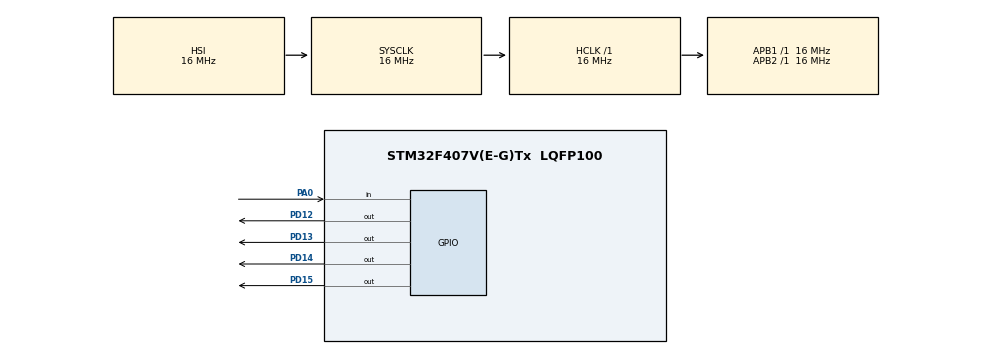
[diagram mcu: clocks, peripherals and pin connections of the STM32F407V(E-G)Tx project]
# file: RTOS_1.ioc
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Mcu.Family=STM32F4
Mcu.Name=STM32F407V(E-G)Tx
Mcu.Package=LQFP100
NVIC.PriorityGroup=NVIC_PRIORITYGROUP_4
NVIC.TIM1_UP_TIM10_IRQn=true\:15\:0\:false\:false\:true\:false\:true\:true
NVIC.TimeBase=TIM1_UP_TIM10_IRQn
NVIC.TimeBaseIP=TIM1
PA0-WKUP.Signal=GPIO_Input
PD12.Signal=GPIO_Output
PD13.Signal=GPIO_Output
PD14.Signal=GPIO_Output
PD15.Signal=GPIO_Output
ProjectManager.HeapSize=0x200
ProjectManager.StackSize=0x400
ProjectManager.TargetToolchain=STM32CubeIDE
RCC.AHBFreq_Value=16000000
RCC.APB1Freq_Value=16000000
RCC.APB2Freq_Value=16000000
RCC.CortexFreq_Value=16000000
RCC.HSE_VALUE=25000000
RCC.HSI_VALUE=16000000
RCC.LSE_VALUE=32768
RCC.SYSCLKFreq_VALUE=16000000
RCC.VCOOutputFreq_Value=192000000
VP_SYS_VS_tim1.Mode=TIM1
board=custom

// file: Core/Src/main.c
/* USER CODE BEGIN Header */
/**
  ******************************************************************************
  * @file           : main.c
  * @brief          : Main program body
  ******************************************************************************
  * @attention
  *
  * Copyright (c) 2024 STMicroelectronics.
  * All rights reserved.
  *
  * This software is licensed under terms that can be found in the LICENSE file
  * in the root directory of this software component.
  * If no LICENSE file comes with this software, it is provided AS-IS.
  *
  ******************************************************************************
  */
/* USER CODE END Header */
#include "main.h"

/* USER CODE BEGIN Includes */
#include "FreeRTOS.h"
#include "task.h"
#include "timers.h"
#include "queue.h"
#include "semphr.h"
#include "event_groups.h"
#include "SEGGER_SYSVIEW.h"
#include "Disc_F407.h"
/* USER CODE END Includes */

void SystemClock_Config(void);
static void MX_GPIO_Init(void);
/* USER CODE BEGIN PFP */
void GreenTask(void *argument);
void BlueTask(void *argument);
void RedTask(void *argument);
void lookBusy( void );
/* USER CODE END PFP */

/* USER CODE BEGIN 0 */
//the address of Task2Handle is passed to xTaskCreate.
//this global variable will be used by Task3 to delete BlueTask.
TaskHandle_t blueTaskHandle;

// some common variables to use for each task
// 128 * 4 = 512 bytes
//(recommended min stack size per task)
#define STACK_SIZE 128

/* USER CODE END 0 */

int main(void)
{

  /* MCU Configuration--------------------------------------------------------*/

  /* Reset of all peripherals, Initializes the Flash interface and the Systick. */
  HAL_Init();

  /* Configure the system clock */
  SystemClock_Config();

  /* Initialize all configured peripherals */
  MX_GPIO_Init();
  /* USER CODE BEGIN 2 */
  SEGGER_SYSVIEW_Conf();

  if (xTaskCreate(GreenTask, "GreenTask", STACK_SIZE, NULL, tskIDLE_PRIORITY + 2, NULL) != pdPASS){ while(1); }

  	//using an assert to ensure proper task creation
  	assert_param(xTaskCreate(BlueTask, "BlueTask", STACK_SIZE, NULL, tskIDLE_PRIORITY + 1, &blueTaskHandle) == pdPASS);

  	xTaskCreate(RedTask, "RedTask", STACK_SIZE, NULL, tskIDLE_PRIORITY + 1, NULL);

  	//start the scheduler - shouldn't return unless there's a problem
  	vTaskStartScheduler();
  /* USER CODE END 2 */

  /* Infinite loop */
  while (1)
  {

  }
}

void SystemClock_Config(void)
{
  RCC_OscInitTypeDef RCC_OscInitStruct = {0};
  RCC_ClkInitTypeDef RCC_ClkInitStruct = {0};

  /** Configure the main internal regulator output voltage
  */
  __HAL_RCC_PWR_CLK_ENABLE();
  __HAL_PWR_VOLTAGESCALING_CONFIG(PWR_REGULATOR_VOLTAGE_SCALE1);

  /** Initializes the RCC Oscillators according to the specified parameters
  * in the RCC_OscInitTypeDef structure.
  */
  RCC_OscInitStruct.OscillatorType = RCC_OSCILLATORTYPE_HSI;
  RCC_OscInitStruct.HSIState = RCC_HSI_ON;
  RCC_OscInitStruct.HSICalibrationValue = RCC_HSICALIBRATION_DEFAULT;
  RCC_OscInitStruct.PLL.PLLState = RCC_PLL_NONE;
  if (HAL_RCC_OscConfig(&RCC_OscInitStruct) != HAL_OK)
  {
    Error_Handler();
  }

  /** Initializes the CPU, AHB and APB buses clocks
  */
  RCC_ClkInitStruct.ClockType = RCC_CLOCKTYPE_HCLK|RCC_CLOCKTYPE_SYSCLK
                              |RCC_CLOCKTYPE_PCLK1|RCC_CLOCKTYPE_PCLK2;
  RCC_ClkInitStruct.SYSCLKSource = RCC_SYSCLKSOURCE_HSI;
  RCC_ClkInitStruct.AHBCLKDivider = RCC_SYSCLK_DIV1;
  RCC_ClkInitStruct.APB1CLKDivider = RCC_HCLK_DIV1;
  RCC_ClkInitStruct.APB2CLKDivider = RCC_HCLK_DIV1;

  if (HAL_RCC_ClockConfig(&RCC_ClkInitStruct, FLASH_LATENCY_0) != HAL_OK)
  {
    Error_Handler();
  }
}

static void MX_GPIO_Init(void)
{
  GPIO_InitTypeDef GPIO_InitStruct = {0};

  /* GPIO Ports Clock Enable */
  __HAL_RCC_GPIOA_CLK_ENABLE();
  __HAL_RCC_GPIOD_CLK_ENABLE();

  /*Configure GPIO pin Output Level */
  HAL_GPIO_WritePin(GPIOD, GPIO_PIN_12|GPIO_PIN_13|GPIO_PIN_14|GPIO_PIN_15, GPIO_PIN_RESET);

  /*Configure GPIO pin : PA0 */
  GPIO_InitStruct.Pin = GPIO_PIN_0;
  GPIO_InitStruct.Mode = GPIO_MODE_INPUT;
  GPIO_InitStruct.Pull = GPIO_NOPULL;
  HAL_GPIO_Init(GPIOA, &GPIO_InitStruct);

  /*Configure GPIO pins : PD12 PD13 PD14 PD15 */
  GPIO_InitStruct.Pin = GPIO_PIN_12|GPIO_PIN_13|GPIO_PIN_14|GPIO_PIN_15;
  GPIO_InitStruct.Mode = GPIO_MODE_OUTPUT_PP;
  GPIO_InitStruct.Pull = GPIO_NOPULL;
  GPIO_InitStruct.Speed = GPIO_SPEED_FREQ_LOW;
  HAL_GPIO_Init(GPIOD, &GPIO_InitStruct);

}

/* USER CODE BEGIN 4 */
void GreenTask(void *argument)
{
	SEGGER_SYSVIEW_PrintfHost("Task1 running \n" "while Green LED is on\n");
	//SEGGER_SYSVIEW_PrintfHost("hey there!\n");
	GreenLed.On();
	vTaskDelay(1500/ portTICK_PERIOD_MS);
	GreenLed.Off();

	//a task can delete itself by passing NULL to vTaskDelete
	vTaskDelete(NULL);

	//task never get's here
	GreenLed.On();
}

void BlueTask( void* argument )
{
	while(1)
	{
		SEGGER_SYSVIEW_PrintfHost("BlueTaskRunning\n");
		BlueLed.On();
		vTaskDelay(200/ portTICK_PERIOD_MS);
		BlueLed.Off();
		vTaskDelay(200/ portTICK_PERIOD_MS);
	}
}

void RedTask( void* argument )
{
	uint8_t firstRun = 1;

	while(1)
	{
		lookBusy();

		SEGGER_SYSVIEW_PrintfHost("RedTaskRunning\n");
		RedLed.On();
		vTaskDelay(500/ portTICK_PERIOD_MS);
		RedLed.Off();
		vTaskDelay(500/ portTICK_PERIOD_MS);

		if(firstRun == 1)
		{
			//tasks can delete one-another by passing the desired
			//TaskHandle_t to vTaskDelete
			vTaskDelete(blueTaskHandle);
			firstRun = 0;
		}
	}
}

void lookBusy( void )
{
	volatile uint32_t dontCare = 0;
	for(int i = 0; i < 50E3; i++)
	{
		dontCare = i % 4;
	}
	SEGGER_SYSVIEW_PrintfHost("looking busy %d\n", dontCare);
}

/* USER CODE END 4 */

void HAL_TIM_PeriodElapsedCallback(TIM_HandleTypeDef *htim)
{
  if (htim->Instance == TIM1) {
    HAL_IncTick();
  }
}

void Error_Handler(void)
{
  __disable_irq();
  while (1)
  {
  }
}

#ifdef  USE_FULL_ASSERT
/**
  * @brief  Reports the name of the source file and the source line number
  *         where the assert_param error has occurred.
  * @param  file: pointer to the source file name
  * @param  line: assert_param error line source number
  * @retval None
  */
void assert_failed(uint8_t *file, uint32_t line)
{
  /* USER CODE BEGIN 6 */
	SEGGER_SYSVIEW_PrintfHost("Assertion Failed:file %s on line %d\r\n", file, line);
	  while(1);
  /* USER CODE END 6 */
}
#endif /* USE_FULL_ASSERT */
